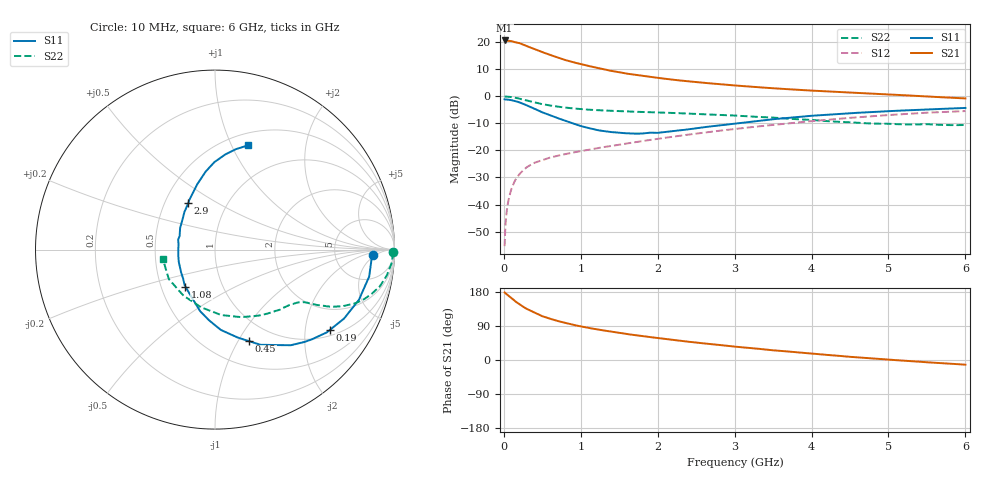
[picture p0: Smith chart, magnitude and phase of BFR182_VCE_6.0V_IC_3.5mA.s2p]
! Infineon Technologies  Discrete & RF Semiconductors
! BFR182
! VCE =  6.0 V,  IC =  3.5 mA
! Common Emitter S-Parameters:  Nov 2015
# GHz  S  MA  R  50
!  f  S11  S21  S12  S22
! GHz  MAG  ANG  MAG  ANG  MAG  ANG  MAG  ANG
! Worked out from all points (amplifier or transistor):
!   210 points, 10 MHz to 6 GHz, reference 50 ohm
!   highest |S21| = 20.6 dB at 10 MHz (marker M1)
!   |S21| within 3 dB of that: start of sweep to 384.7 MHz
!   unconditionally stable (mu >= 1): 1.254 GHz to 3.013 GHz
!   at 185 MHz: K = 0.26, MSG = 24.6 dB, |S12| = -29.4 dB
!   at 1.52 GHz: K = 1.05, MAG = 12.0 dB, |S12| = -17.8 dB
!   at 6 GHz: K = 0.88, MSG = 2.3 dB, |S12| = -5.5 dB
!   S11 on the Smith chart (normalised r, x): 10 MHz: 15, -4; 190 MHz: 1.19, -2.73; 450 MHz: 0.77, -1.11; 1.08 GHz: 0.67, -0.29; 2.9 GHz: 0.66, +0.38; 6 GHz: 0.63, +1.16
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0.01  0.8803 -2.1  10.76 178.2  0.0017 89.3  0.9933 -0.9
0.02  0.8735 -3.8  10.48 176.3  0.004 85.2  0.991 -1.9
0.035  0.8716 -6.8  10.56 173.8  0.007 83.9  0.9885 -3.2
0.05  0.8721 -9.9  10.65 171.4  0.01 83.4  0.9865 -4.5
0.1  0.8493 -19.2  10.47 163.3  0.0196 79.4  0.9673 -8.7
0.15  0.8152 -28.1  9.953 154.6  0.0285 74.3  0.9407 -12.6
0.19  0.7819 -34.8  9.688 148.9  0.0345 71.5  0.9125 -15.2
0.24  0.7351 -42.9  9.177 141.9  0.0413 67.7  0.8766 -18.3
0.3  0.6799 -51.6  8.436 134.7  0.0492 64.8  0.8358 -21.0
0.45  0.5443 -69.6  6.999 120.5  0.0626 59.3  0.7439 -25.3
0.5  0.5055 -75.6  6.555 115.5  0.066 58.4  0.7154 -26.4
0.7  0.3949 -94.9  5.206 102.9  0.0798 56.2  0.6434 -28.6
0.9  0.3133 -111.3  4.268 92.7  0.0914 56.0  0.5968 -29.8
1.02  0.2774 -122.3  3.875 87.8  0.0981 56.6  0.577 -30.5
1.08  0.2636 -128.6  3.699 85.6  0.1017 57.1  0.5689 -31.0
1.6  0.2071 -171.1  2.623 68.5  0.1344 58.5  0.5264 -35.3
2.02  0.2127 157.8  2.174 57.4  0.1651 59.0  0.5009 -40.3
2.9  0.3003 119.7  1.633 37.6  0.2396 56.0  0.4469 -54.6
3.1  0.3238 114.4  1.547 33.5  0.2579 54.7  0.4319 -58.8
4.1  0.4462 95.6  1.253 15.2  0.3572 45.9  0.3564 -87.9
5.1  0.5395 82.8  1.067 -0.4  0.4593 33.9  0.306 -128.8
6  0.6094 72.4  0.914 -12.4  0.5336 20.8  0.2952 -169.9
